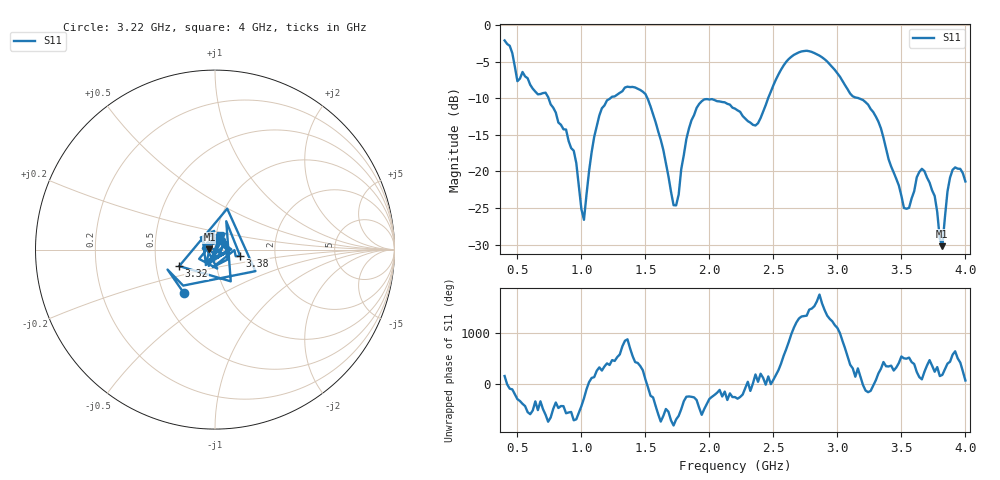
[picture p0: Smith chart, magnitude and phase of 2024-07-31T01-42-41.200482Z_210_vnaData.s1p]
!Created with skrf (http://scikit-rf.org).
# Hz S RI R 50.0
!freq ReS11 ImS11
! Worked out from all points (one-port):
!   181 points, 400 MHz to 4 GHz, reference 50 ohm
!   lowest |S11| = -30.2 dB at 3.82 GHz (marker M1), VSWR 1.06, Z = 47 + j0.0824 ohm
!   |S11| at or under -10 dB: 743.9 MHz to 1.224 GHz (480 MHz wide, 48.8 % of centre); 1.517 GHz to 2.458 GHz (941.5 MHz wide, 47.4 % of centre); 3.17 GHz to end of sweep
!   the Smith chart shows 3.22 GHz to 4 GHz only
!   S11 on the Smith chart (normalised r, x): 3.22 GHz: 0.64, -0.34; 3.32 GHz: 0.66, -0.13; 3.38 GHz: 1.32, -0.09; 4 GHz: 1.05, +0.17
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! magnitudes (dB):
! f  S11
! 400 MHz  -2.1
! 500 MHz  -7.6
! 720 MHz  -9.2
! 860 MHz  -14.2
! 940 MHz  -17.2
! 1.02 GHz  -26.6
! 1.14 GHz  -12.3
! 1.3 GHz  -9.2
! 1.5 GHz  -9.4
! 1.72 GHz  -24.6
! 1.76 GHz  -23.2
! 1.82 GHz  -15.6
! 1.92 GHz  -10.7
! 2.2 GHz  -11.4
! 2.38 GHz  -13.4
! 2.66 GHz  -4.0
! 2.88 GHz  -4.4
! 3.1 GHz  -9.3
! 3.22 GHz  -10.5
! 3.32 GHz  -13.2
! 3.38 GHz  -16.8
! 3.56 GHz  -25.0
! 3.68 GHz  -20.0
! 3.76 GHz  -23.3
! 3.82 GHz  -30.2
! 3.86 GHz  -22.7
! 3.9 GHz  -19.8
! 4 GHz  -21.4
